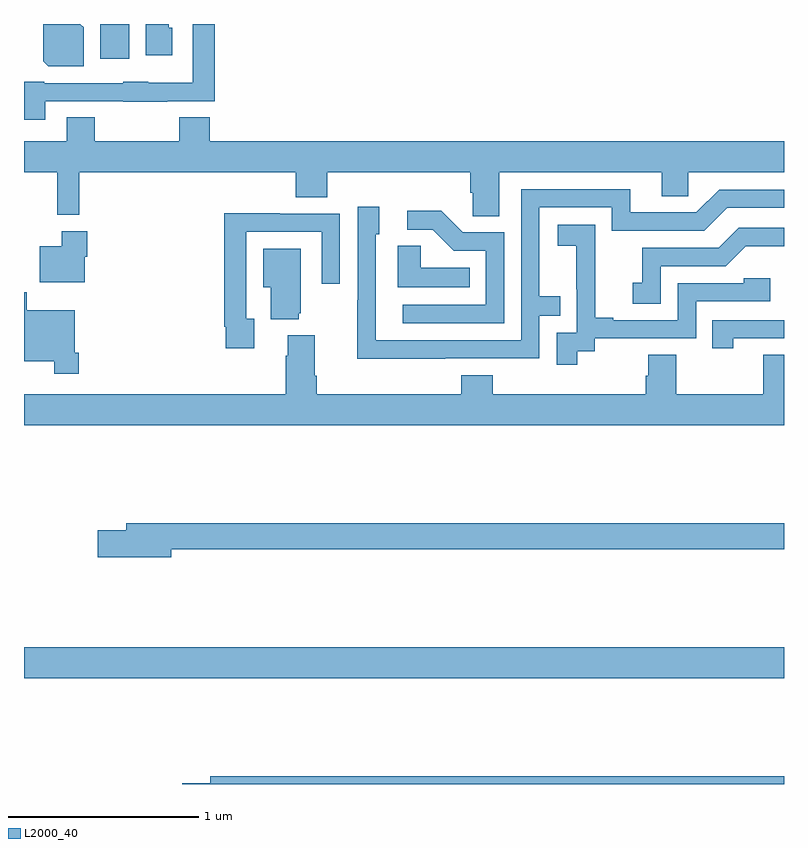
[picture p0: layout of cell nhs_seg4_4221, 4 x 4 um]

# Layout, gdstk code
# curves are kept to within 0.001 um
import gdstk
lib = gdstk.Library(unit=1e-6, precision=1e-09)
def R(c, l, rs):  # rectangles x0, y0, x1, y1
    for r in rs: c.add(gdstk.rectangle(r[:2], r[2:], *l))
def P(c, l, *ps):  # polygons
    for p in ps: c.add(gdstk.Polygon(p, *l))
L2000_40 = (2000, 40)

nhs_seg4_4221 = lib.new_cell('nhs_seg4_4221')
R(nhs_seg4_4221, L2000_40, [(335,827.456,339,827.62), (335.402,830.718,335.554,830.9)])
P(nhs_seg4_4221, L2000_40, [(335.779,830.88),(335.761,830.88),(335.761,830.9),(335.642,830.9),(335.642,830.736),(335.779,830.736)],
  [(335.113,830.493),(335.523,830.493),(335.523,830.492),(335.755,830.492),(335.755,830.493),(336.005,830.493),(336.005,830.9),(335.889,830.9),(335.889,830.59),(335.655,830.59),(335.655,830.596),(335.523,830.596),(335.523,830.589),(335.106,830.589),(335.106,830.596),(335,830.596),(335,830.396),(335.113,830.396)],
  [(335.314,830.882),(335.296,830.9),(335.102,830.9),(335.102,830.704),(335.128,830.678),(335.314,830.678)],
  [(337.501,830.12),(338.357,830.12),(338.357,829.993),(338.496,829.993),(338.496,830.12),(339,830.12),(339,830.284),(335.978,830.284),(335.978,830.408),(335.818,830.408),(335.818,830.284),(335.373,830.284),(335.373,830.408),(335.225,830.408),(335.225,830.284),(335,830.284),(335,830.12),(335.174,830.12),(335.174,829.895),(335.291,829.895),(335.291,830.12),(336.431,830.12),(336.431,829.987),(336.596,829.987),(336.596,830.12),(337.349,830.12),(337.349,830.011),(337.362,830.011),(337.362,829.888),(337.501,829.888)],
  [(337.217,829.14),(337.713,829.14),(337.713,829.365),(337.823,829.365),(337.823,829.466),(337.713,829.466),(337.713,829.935),(338.094,829.935),(338.094,829.812),(338.58,829.812),(338.7,829.932),(339,829.932),(339,830.028),(338.658,830.028),(338.538,829.908),(338.191,829.908),(338.191,830.031),(337.617,830.031),(337.617,829.236),(336.852,829.236),(336.852,829.794),(336.871,829.794),(336.871,829.939),(336.756,829.939),(336.756,829.445),(336.754,829.445),(336.754,829.139)],
  [(337.527,829.803),(337.308,829.803),(337.195,829.916),(337.017,829.916),(337.017,829.818),(337.151,829.818),(337.262,829.707),(337.431,829.707),(337.431,829.422),(336.993,829.422),(336.993,829.326),(337.527,829.326)],
  [(336.211,829.35),(336.171,829.35),(336.171,829.806),(336.567,829.806),(336.567,829.533),(336.663,829.533),(336.663,829.902),(336.347,829.902),(336.347,829.904),(336.055,829.904),(336.055,829.306),(336.063,829.306),(336.063,829.194),(336.211,829.194)],
  [(337.912,829.177),(338.004,829.177),(338.004,829.245),(338.538,829.245),(338.538,829.44),(338.927,829.44),(338.927,829.563),(338.787,829.563),(338.787,829.536),(338.442,829.536),(338.442,829.341),(338.101,829.341),(338.101,829.354),(338.006,829.354),(338.006,829.637),(338.007,829.637),(338.007,829.843),(337.809,829.843),(337.809,829.733),(337.907,829.733),(337.907,829.505),(337.908,829.505),(337.908,829.275),(337.803,829.275),(337.803,829.107),(337.912,829.107)],
  [(338.352,829.626),(338.694,829.626),(338.798,829.73),(339,829.73),(339,829.827),(338.762,829.827),(338.657,829.722),(338.254,829.722),(338.254,829.537),(338.205,829.537),(338.205,829.428),(338.352,829.428)],
  [(335.32,829.674),(335.333,829.674),(335.333,829.81),(335.198,829.81),(335.198,829.729),(335.084,829.729),(335.084,829.541),(335.32,829.541)],
  [(337.346,829.618),(337.089,829.618),(337.089,829.733),(336.968,829.733),(336.968,829.514),(337.346,829.514)],
  [(336.446,829.377),(336.457,829.377),(336.457,829.717),(336.26,829.717),(336.26,829.514),(336.299,829.514),(336.299,829.346),(336.446,829.346)],
  [(335.288,829.171),(335.268,829.171),(335.268,829.393),(335.015,829.393),(335.015,829.489),(335,829.489),(335,829.124),(335.16,829.124),(335.16,829.059),(335.288,829.059)],
  [(338.734,829.245),(339,829.245),(339,829.341),(338.623,829.341),(338.623,829.194),(338.734,829.194)],
  [(339,829.16),(338.89,829.16),(338.89,828.952),(338.433,828.952),(338.433,829.16),(338.285,829.16),(338.285,829.05),(338.273,829.05),(338.273,828.952),(337.466,828.952),(337.466,829.051),(337.301,829.051),(337.301,828.952),(336.542,828.952),(336.542,829.048),(336.529,829.048),(336.529,829.261),(336.389,829.261),(336.389,829.154),(336.377,829.154),(336.377,828.952),(335,828.952),(335,828.788),(339,828.788)],
  [(335.776,828.136),(339,828.136),(339,828.272),(335.537,828.272),(335.537,828.236),(335.388,828.236),(335.388,828.094),(335.776,828.094)],
  [(339,826.94),(335.981,826.94),(335.981,826.904),(335.832,826.904),(335.832,826.9),(339,826.9)])

lib.write_gds('nhs_seg4_4221.gds')
